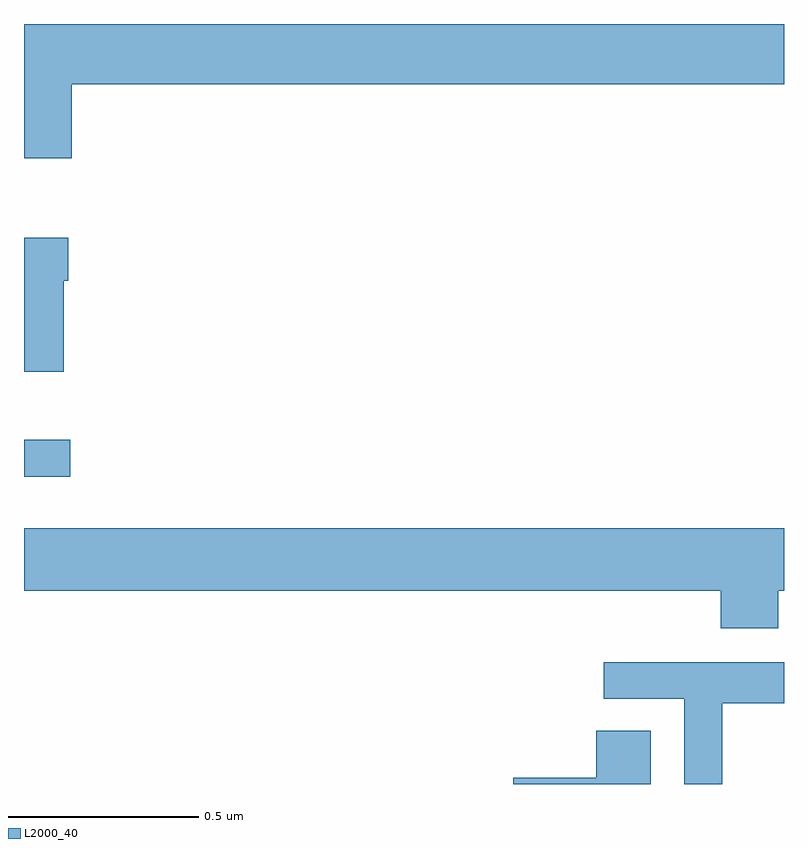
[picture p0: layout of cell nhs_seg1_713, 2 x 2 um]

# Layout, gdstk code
import gdstk
lib = gdstk.Library(unit=1e-6, precision=1e-09)
def R(c, l, rs):  # rectangles x0, y0, x1, y1
    for r in rs: c.add(gdstk.rectangle(r[:2], r[2:], *l))
def P(c, l, *ps):  # polygons
    for p in ps: c.add(gdstk.Polygon(p, *l))
L2000_40 = (2000, 40)

nhs_seg1_713 = lib.new_cell('nhs_seg1_713')
R(nhs_seg1_713, L2000_40, [(119,576.008,119.122,576.105)])
P(nhs_seg1_713, L2000_40, [(119.126,577.04),(121,577.04),(121,577.199),(119,577.199),(119,576.846),(119.126,576.846)],
  [(119.104,576.524),(119.117,576.524),(119.117,576.637),(119,576.637),(119,576.284),(119.104,576.284)],
  [(120.985,575.708),(121,575.708),(121,575.872),(119,575.872),(119,575.708),(120.833,575.708),(120.833,575.609),(120.985,575.609)],
  [(120.837,575.412),(121,575.412),(121,575.52),(120.525,575.52),(120.525,575.424),(120.738,575.424),(120.738,575.199),(120.837,575.199)],
  [(120.649,575.339),(120.506,575.339),(120.506,575.216),(120.288,575.216),(120.288,575.199),(120.649,575.199)])

lib.write_gds('nhs_seg1_713.gds')
